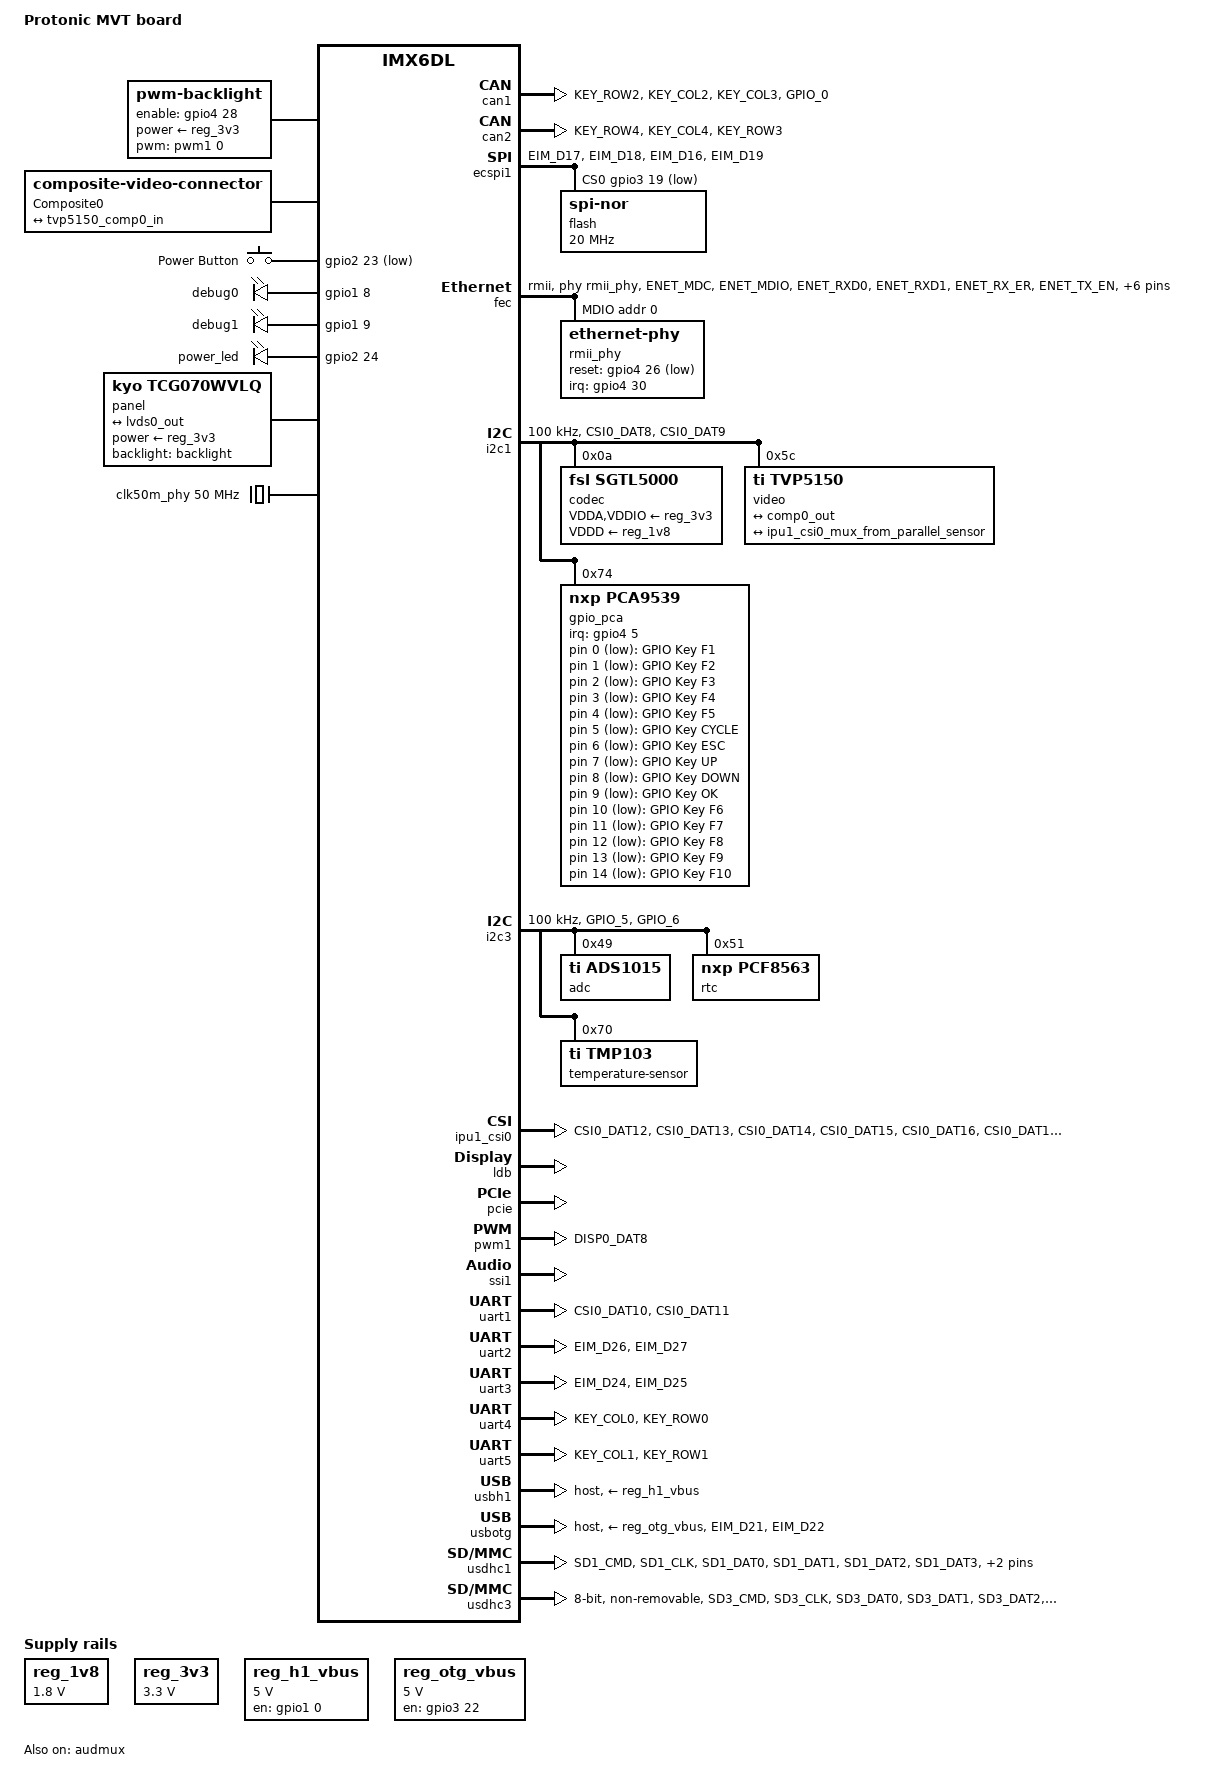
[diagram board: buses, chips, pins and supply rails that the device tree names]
// SPDX-License-Identifier: GPL-2.0-or-later OR MIT
/*
 * Copyright (c) 2016 Protonic Holland
 * Copyright (c) 2020 Oleksij Rempel <kernel@pengutronix.de>, Pengutronix
 */

/dts-v1/;
#include <dt-bindings/display/sdtv-standards.h>
#include <dt-bindings/gpio/gpio.h>
#include <dt-bindings/input/input.h>
#include <dt-bindings/leds/common.h>
#include <dt-bindings/media/tvp5150.h>
#include <dt-bindings/sound/fsl-imx-audmux.h>
#include "imx6dl.dtsi"

/ {
	model = "Protonic MVT board";
	compatible = "prt,prtmvt", "fsl,imx6dl";

	chosen {
		stdout-path = &uart4;
	};

	backlight: backlight {
		compatible = "pwm-backlight";
		pinctrl-names = "default";
		pinctrl-0 = <&pinctrl_backlight>;
		pwms = <&pwm1 0 5000000 0>;
		brightness-levels = <0 16 64 255>;
		num-interpolated-steps = <16>;
		default-brightness-level = <1>;
		power-supply = <&reg_3v3>;
		enable-gpios = <&gpio4 28 GPIO_ACTIVE_HIGH>;
	};

	connector {
		compatible = "composite-video-connector";
		label = "Composite0";
		sdtv-standards = <SDTV_STD_PAL_B>;

		port {
			comp0_out: endpoint {
				remote-endpoint = <&tvp5150_comp0_in>;
			};
		};
	};

	gpio-keys {
		compatible = "gpio-keys";
		pinctrl-names = "default";
		pinctrl-0 = <&pinctrl_gpiokeys>;
		autorepeat;

		key-power {
			label = "Power Button";
			gpios = <&gpio2 23 GPIO_ACTIVE_LOW>;
			linux,code = <KEY_POWER>;
			wakeup-source;
		};

		key-f1 {
			label = "GPIO Key F1";
			linux,code = <KEY_F1>;
			gpios = <&gpio_pca 0 GPIO_ACTIVE_LOW>;
		};

		key-f2 {
			label = "GPIO Key F2";
			linux,code = <KEY_F2>;
			gpios = <&gpio_pca 1 GPIO_ACTIVE_LOW>;
		};

		key-f3 {
			label = "GPIO Key F3";
			linux,code = <KEY_F3>;
			gpios = <&gpio_pca 2 GPIO_ACTIVE_LOW>;
		};

		key-f4 {
			label = "GPIO Key F4";
			linux,code = <KEY_F4>;
			gpios = <&gpio_pca 3 GPIO_ACTIVE_LOW>;
		};

		key-f5 {
			label = "GPIO Key F5";
			linux,code = <KEY_F5>;
			gpios = <&gpio_pca 4 GPIO_ACTIVE_LOW>;
		};

		key-cycle {
			label = "GPIO Key CYCLE";
			linux,code = <KEY_CYCLEWINDOWS>;
			gpios = <&gpio_pca 5 GPIO_ACTIVE_LOW>;
		};

		key-esc {
			label = "GPIO Key ESC";
			linux,code = <KEY_ESC>;
			gpios = <&gpio_pca 6 GPIO_ACTIVE_LOW>;
		};

		key-up {
			label = "GPIO Key UP";
			linux,code = <KEY_UP>;
			gpios = <&gpio_pca 7 GPIO_ACTIVE_LOW>;
		};

		key-down {
			label = "GPIO Key DOWN";
			linux,code = <KEY_DOWN>;
			gpios = <&gpio_pca 8 GPIO_ACTIVE_LOW>;
		};

		key-ok {
			label = "GPIO Key OK";
			linux,code = <KEY_OK>;
			gpios = <&gpio_pca 9 GPIO_ACTIVE_LOW>;
		};

		key-f6 {
			label = "GPIO Key F6";
			linux,code = <KEY_F6>;
			gpios = <&gpio_pca 10 GPIO_ACTIVE_LOW>;
		};

		key-f7 {
			label = "GPIO Key F7";
			linux,code = <KEY_F7>;
			gpios = <&gpio_pca 11 GPIO_ACTIVE_LOW>;
		};

		key-f8 {
			label = "GPIO Key F8";
			linux,code = <KEY_F8>;
			gpios = <&gpio_pca 12 GPIO_ACTIVE_LOW>;
		};

		key-f9 {
			label = "GPIO Key F9";
			linux,code = <KEY_F9>;
			gpios = <&gpio_pca 13 GPIO_ACTIVE_LOW>;
		};

		key-f10 {
			label = "GPIO Key F10";
			linux,code = <KEY_F10>;
			gpios = <&gpio_pca 14 GPIO_ACTIVE_LOW>;
		};

	};

	leds {
		compatible = "gpio-leds";
		pinctrl-names = "default";
		pinctrl-0 = <&pinctrl_leds>;

		led-0 {
			label = "debug0";
			function = LED_FUNCTION_HEARTBEAT;
			gpios = <&gpio1 8 GPIO_ACTIVE_HIGH>;
			linux,default-trigger = "heartbeat";
		};

		led-1 {
			label = "debug1";
			function = LED_FUNCTION_DISK;
			gpios = <&gpio1 9 GPIO_ACTIVE_HIGH>;
			linux,default-trigger = "disk-activity";
		};

		led-2 {
			label = "power_led";
			function = LED_FUNCTION_POWER;
			gpios = <&gpio2 24 GPIO_ACTIVE_HIGH>;
			default-state = "on";
		};
	};

	panel {
		compatible = "kyo,tcg070wvlq", "lg,lb070wv8";
		backlight = <&backlight>;
		power-supply = <&reg_3v3>;

		port {
			panel_in: endpoint {
				remote-endpoint = <&lvds0_out>;
			};
		};
	};

	clk50m_phy: phy-clock {
		compatible = "fixed-clock";
		#clock-cells = <0>;
		clock-frequency = <50000000>;
		clock-output-names = "enet_ref_pad";
	};

	reg_1v8: regulator-1v8 {
		compatible = "regulator-fixed";
		regulator-name = "1v8";
		regulator-min-microvolt = <1800000>;
		regulator-max-microvolt = <1800000>;
	};

	reg_3v3: regulator-3v3 {
		compatible = "regulator-fixed";
		regulator-name = "3v3";
		regulator-min-microvolt = <3300000>;
		regulator-max-microvolt = <3300000>;
	};

	reg_h1_vbus: regulator-h1-vbus {
		compatible = "regulator-fixed";
		regulator-name = "h1-vbus";
		regulator-min-microvolt = <5000000>;
		regulator-max-microvolt = <5000000>;
		gpio = <&gpio1 0 GPIO_ACTIVE_HIGH>;
		enable-active-high;
	};

	reg_otg_vbus: regulator-otg-vbus {
		compatible = "regulator-fixed";
		regulator-name = "otg-vbus";
		regulator-min-microvolt = <5000000>;
		regulator-max-microvolt = <5000000>;
		gpio = <&gpio3 22 GPIO_ACTIVE_HIGH>;
		enable-active-high;
	};

	sound {
		compatible = "simple-audio-card";
		simple-audio-card,name = "prti6q-sgtl5000";
		simple-audio-card,format = "i2s";
		simple-audio-card,widgets =
			"Microphone", "Microphone Jack",
			"Line", "Line In Jack",
			"Headphone", "Headphone Jack",
			"Speaker", "External Speaker";
		simple-audio-card,routing =
			"MIC_IN", "Microphone Jack",
			"LINE_IN", "Line In Jack",
			"Headphone Jack", "HP_OUT",
			"External Speaker", "LINE_OUT";

		simple-audio-card,cpu {
			sound-dai = <&ssi1>;
			system-clock-frequency = <0>;
		};

		simple-audio-card,codec {
			sound-dai = <&codec>;
			bitclock-master;
			frame-master;
		};
	};
};

&audmux {
	pinctrl-names = "default";
	pinctrl-0 = <&pinctrl_audmux>;
	status = "okay";

	mux-ssi1 {
		fsl,audmux-port = <0>;
		fsl,port-config = <
			IMX_AUDMUX_V2_PTCR_SYN		0
			IMX_AUDMUX_V2_PTCR_TFSEL(2)	0
			IMX_AUDMUX_V2_PTCR_TCSEL(2)	0
			IMX_AUDMUX_V2_PTCR_TFSDIR	0
			IMX_AUDMUX_V2_PTCR_TCLKDIR	IMX_AUDMUX_V2_PDCR_RXDSEL(2)
		>;
	};

	mux-pins3 {
		fsl,audmux-port = <2>;
		fsl,port-config = <
			IMX_AUDMUX_V2_PTCR_SYN		IMX_AUDMUX_V2_PDCR_RXDSEL(0)
			0				IMX_AUDMUX_V2_PDCR_TXRXEN
		>;
	};
};

&can1 {
	pinctrl-names = "default";
	pinctrl-0 = <&pinctrl_can1>;
	status = "okay";
};

&can2 {
	pinctrl-names = "default";
	pinctrl-0 = <&pinctrl_can2>;
	status = "okay";
};

&clks {
	clocks = <&clk50m_phy>;
	clock-names = "enet_ref_pad";
	assigned-clocks = <&clks IMX6QDL_CLK_LDB_DI0_SEL>, <&clks IMX6QDL_CLK_ENET_REF_SEL>;
	assigned-clock-parents = <&clks IMX6QDL_CLK_PLL5_VIDEO_DIV>, <&clk50m_phy>;
};

&ecspi1 {
	cs-gpios = <&gpio3 19 GPIO_ACTIVE_LOW>;
	pinctrl-names = "default";
	pinctrl-0 = <&pinctrl_ecspi1>;
	status = "okay";

	flash@0 {
		compatible = "jedec,spi-nor";
		reg = <0>;
		spi-max-frequency = <20000000>;
	};
};

&fec {
	pinctrl-names = "default";
	pinctrl-0 = <&pinctrl_enet>;
	phy-mode = "rmii";
	phy-handle = <&rmii_phy>;
	status = "okay";

	mdio {
		#address-cells = <1>;
		#size-cells = <0>;

		/* Microchip KSZ8081RNA PHY */
		rmii_phy: ethernet-phy@0 {
			reg = <0>;
			interrupts-extended = <&gpio4 30 IRQ_TYPE_LEVEL_LOW>;
			reset-gpios = <&gpio4 26 GPIO_ACTIVE_LOW>;
			reset-assert-us = <10000>;
			reset-deassert-us = <3000>;
		};
	};
};

&gpio1 {
	gpio-line-names =
		"CAN1_TERM", "SD1_CD", "ITU656_RESET", "CAM1_MIRROR",
			"CAM2_MIRROR", "", "", "SMBALERT",
		"DEBUG_0", "DEBUG_1", "", "", "", "", "", "",
		"SD1_DATA0", "SD1_DATA1", "SD1_CMD", "SD1_DATA2", "SD1_CLK",
			"SD1_DATA3", "", "",
		"", "", "", "", "", "", "", "";
};

&gpio2 {
	gpio-line-names =
		"", "", "", "", "", "", "", "",
		"REV_ID0", "REV_ID1", "REV_ID2", "REV_ID3", "REV_ID4",
			"BOARD_ID0", "BOARD_ID1", "BOARD_ID2",
		"", "", "", "", "", "", "", "ON_SWITCH",
		"POWER_LED", "", "", "", "", "", "", "";
};

&gpio3 {
	gpio-line-names =
		"", "", "", "", "", "", "", "",
		"", "", "", "", "", "", "", "",
		"ECSPI1_SCLK", "ECSPI1_MISO", "ECSPI1_MOSI", "ECSPI1_SS1",
			"CPU_ON1_FB", "USB_EXT1_OC", "USB_EXT1_PWR", "YACO_IRQ",
		"TSS_TXD", "TSS_RXD", "", "", "", "", "YACO_BOOT0",
			"YACO_RESET";
};

&gpio4 {
	gpio-line-names =
		"", "", "", "", "", "", "", "",
		"", "", "", "", "CAN1_SR", "CAN2_SR", "CAN2_TX", "CAN2_RX",
		"", "", "DIP1_FB", "", "", "", "", "",
		"CPU_LIGHT_ON", "", "ETH_RESET", "", "BL_EN",
			"BL_PWM", "ETH_INTRP", "";
};

&gpio5 {
	gpio-line-names =
		"", "", "", "", "", "", "", "",
		"", "", "", "", "", "", "", "",
		"", "", "", "", "", "", "", "",
		"I2S_LRCLK", "I2S_DIN", "I2C1_SDA", "I2C1_SCL", "YACO_AUX_RX",
			"YACO_AUX_TX", "ITU656_D0", "ITU656_D1";
};

&i2c1 {
	clock-frequency = <100000>;
	pinctrl-names = "default";
	pinctrl-0 = <&pinctrl_i2c1>;
	status = "okay";

	codec: audio-codec@a {
		compatible = "fsl,sgtl5000";
		reg = <0xa>;
		#sound-dai-cells = <0>;
		clocks = <&clks 201>;
		VDDA-supply = <&reg_3v3>;
		VDDIO-supply = <&reg_3v3>;
		VDDD-supply = <&reg_1v8>;
	};

	video@5c {
		compatible = "ti,tvp5150";
		reg = <0x5c>;
		#address-cells = <1>;
		#size-cells = <0>;

		port@0 {
			reg = <0>;

			tvp5150_comp0_in: endpoint {
				remote-endpoint = <&comp0_out>;
			};
		};

		/* Output port 2 is video output pad */
		port@2 {
			reg = <2>;
			tvp5151_to_ipu1_csi0_mux: endpoint {
				remote-endpoint = <&ipu1_csi0_mux_from_parallel_sensor>;
			};
		};
	};

	gpio_pca: gpio@74 {
		compatible = "nxp,pca9539";
		reg = <0x74>;
		pinctrl-names = "default";
		pinctrl-0 = <&pinctrl_pca9539>;
		interrupt-parent = <&gpio4>;
		interrupts = <5 IRQ_TYPE_LEVEL_LOW>;
		gpio-controller;
		#gpio-cells = <2>;
	};

	/* additional i2c devices are added automatically by the boot loader */
};

&i2c3 {
	clock-frequency = <100000>;
	pinctrl-names = "default";
	pinctrl-0 = <&pinctrl_i2c3>;
	status = "okay";

	adc@49 {
		compatible = "ti,ads1015";
		reg = <0x49>;
		#address-cells = <1>;
		#size-cells = <0>;

		channel@4 {
			reg = <4>;
			ti,gain = <3>;
			ti,datarate = <3>;
		};

		channel@5 {
			reg = <5>;
			ti,gain = <3>;
			ti,datarate = <3>;
		};

		channel@6 {
			reg = <6>;
			ti,gain = <3>;
			ti,datarate = <3>;
		};

		channel@7 {
			reg = <7>;
			ti,gain = <3>;
			ti,datarate = <3>;
		};
	};

	rtc@51 {
		compatible = "nxp,pcf8563";
		reg = <0x51>;
	};

	temperature-sensor@70 {
		compatible = "ti,tmp103";
		reg = <0x70>;
	};
};

&ipu1_csi0 {
	pinctrl-names = "default";
	pinctrl-0 = <&pinctrl_ipu1_csi0>;
	status = "okay";
};

&ipu1_csi0_mux_from_parallel_sensor {
	remote-endpoint = <&tvp5151_to_ipu1_csi0_mux>;
};

&ldb {
	status = "okay";

	lvds-channel@0 {
		status = "okay";

		port@4 {
			reg = <4>;

			lvds0_out: endpoint {
				remote-endpoint = <&panel_in>;
			};
		};
	};
};

&pcie {
	status = "okay";
};

&pwm1 {
	pinctrl-names = "default";
	pinctrl-0 = <&pinctrl_pwm1>;
	status = "okay";
};

&ssi1 {
	#sound-dai-cells = <0>;
	fsl,mode = "ac97-slave";
	status = "okay";
};

&uart1 {
	pinctrl-names = "default";
	pinctrl-0 = <&pinctrl_uart1>;
	status = "okay";
};

&uart2 {
	pinctrl-names = "default";
	pinctrl-0 = <&pinctrl_uart2>;
	status = "okay";
};

&uart3 {
	pinctrl-names = "default";
	pinctrl-0 = <&pinctrl_uart3>;
	status = "okay";
};

&uart4 {
	pinctrl-names = "default";
	pinctrl-0 = <&pinctrl_uart4>;
	status = "okay";
};

&uart5 {
	pinctrl-names = "default";
	pinctrl-0 = <&pinctrl_uart5>;
	status = "okay";
};

&usbh1 {
	vbus-supply = <&reg_h1_vbus>;
	pinctrl-names = "default";
	phy_type = "utmi";
	dr_mode = "host";
	disable-over-current;
	status = "okay";
};

&usbotg {
	vbus-supply = <&reg_otg_vbus>;
	pinctrl-names = "default";
	pinctrl-0 = <&pinctrl_usbotg>;
	phy_type = "utmi";
	dr_mode = "host";
	over-current-active-low;
	status = "okay";
};

&usbphynop1 {
	status = "disabled";
};

&usbphynop2 {
	status = "disabled";
};

&usdhc1 {
	pinctrl-names = "default";
	pinctrl-0 = <&pinctrl_usdhc1>;
	cd-gpios = <&gpio1 1 GPIO_ACTIVE_LOW>;
	no-1-8-v;
	disable-wp;
	cap-sd-highspeed;
	no-mmc;
	no-sdio;
	status = "okay";
};

&usdhc3 {
	pinctrl-names = "default";
	pinctrl-0 = <&pinctrl_usdhc3>;
	bus-width = <8>;
	no-1-8-v;
	non-removable;
	no-sd;
	no-sdio;
	status = "okay";
};

&iomuxc {
	pinctrl-names = "default";
	pinctrl-0 = <&pinctrl_hog>;

	pinctrl_audmux: audmuxgrp {
		fsl,pins = <
			/* SGTL5000 sys_mclk */
			MX6QDL_PAD_CSI0_MCLK__CCM_CLKO1			0x030b0
			MX6QDL_PAD_CSI0_DAT7__AUD3_RXD			0x130b0
			MX6QDL_PAD_CSI0_DAT4__AUD3_TXC			0x130b0
			MX6QDL_PAD_CSI0_DAT5__AUD3_TXD			0x110b0
			MX6QDL_PAD_CSI0_DAT6__AUD3_TXFS			0x130b0
		>;
	};

	pinctrl_backlight: backlightgrp {
		fsl,pins = <
			MX6QDL_PAD_DISP0_DAT7__GPIO4_IO28		0x1b0b0
		>;
	};

	pinctrl_can1: can1grp {
		fsl,pins = <
			MX6QDL_PAD_KEY_ROW2__FLEXCAN1_RX		0x1b000
			MX6QDL_PAD_KEY_COL2__FLEXCAN1_TX		0x3008
			/* CAN1_SR */
			MX6QDL_PAD_KEY_COL3__GPIO4_IO12			0x13008
			/* CAN1_TERM */
			MX6QDL_PAD_GPIO_0__GPIO1_IO00			0x1b088
		>;
	};

	pinctrl_can2: can2grp {
		fsl,pins = <
			MX6QDL_PAD_KEY_ROW4__FLEXCAN2_RX		0x1b000
			MX6QDL_PAD_KEY_COL4__FLEXCAN2_TX		0x3008
			/* CAN2_SR */
			MX6QDL_PAD_KEY_ROW3__GPIO4_IO13			0x13008
		>;
	};

	pinctrl_ecspi1: ecspi1grp {
		fsl,pins = <
			MX6QDL_PAD_EIM_D17__ECSPI1_MISO			0x100b1
			MX6QDL_PAD_EIM_D18__ECSPI1_MOSI			0x100b1
			MX6QDL_PAD_EIM_D16__ECSPI1_SCLK			0x100b1
			/* CS */
			MX6QDL_PAD_EIM_D19__GPIO3_IO19			0x000b1
		>;
	};

	pinctrl_enet: enetgrp {
		fsl,pins = <
			/* MX6QDL_ENET_PINGRP4 */
			MX6QDL_PAD_ENET_MDC__ENET_MDC			0x1b0b0
			MX6QDL_PAD_ENET_MDIO__ENET_MDIO			0x1b0b0
			MX6QDL_PAD_ENET_RXD0__ENET_RX_DATA0		0x1b0b0
			MX6QDL_PAD_ENET_RXD1__ENET_RX_DATA1		0x1b0b0
			MX6QDL_PAD_ENET_RX_ER__ENET_RX_ER		0x1b0b0
			MX6QDL_PAD_ENET_TX_EN__ENET_TX_EN		0x1b0b0
			MX6QDL_PAD_ENET_TXD0__ENET_TX_DATA0		0x1b0b0
			MX6QDL_PAD_ENET_TXD1__ENET_TX_DATA1		0x1b0b0
			MX6QDL_PAD_ENET_CRS_DV__ENET_RX_EN		0x1b0b0
			MX6QDL_PAD_GPIO_16__ENET_REF_CLK		0x1b0b0
			/* Phy reset */
			MX6QDL_PAD_DISP0_DAT5__GPIO4_IO26		0x1b0b0
			/* nINTRP */
			MX6QDL_PAD_DISP0_DAT9__GPIO4_IO30		0x1b0b0
		>;
	};

	pinctrl_gpiokeys: gpiokeygrp {
		fsl,pins = <
			/* nON_SWITCH */
			MX6QDL_PAD_EIM_CS0__GPIO2_IO23			0x1b0b0
		>;
	};

	pinctrl_hog: hoggrp {
		fsl,pins = <
			/* ITU656_nRESET */
			MX6QDL_PAD_GPIO_2__GPIO1_IO02			0x1b0b0
			/* CAM1_MIRROR */
			MX6QDL_PAD_GPIO_3__GPIO1_IO03			0x130b0
			/* CAM2_MIRROR */
			MX6QDL_PAD_GPIO_4__GPIO1_IO04			0x130b0
			/* CAM_nDETECT */
			MX6QDL_PAD_GPIO_17__GPIO7_IO12			0x1b0b0
			/* ISB_IN1 */
			MX6QDL_PAD_EIM_A16__GPIO2_IO22			0x130b0
			/* ISB_nIN2 */
			MX6QDL_PAD_EIM_A17__GPIO2_IO21			0x1b0b0
			/* WARN_LIGHT */
			MX6QDL_PAD_EIM_A19__GPIO2_IO19			0x100b0
			/* ON2_FB */
			MX6QDL_PAD_EIM_A25__GPIO5_IO02			0x100b0
			/* YACO_nIRQ */
			MX6QDL_PAD_EIM_D23__GPIO3_IO23			0x1b0b0
			/* YACO_BOOT0 */
			MX6QDL_PAD_EIM_D30__GPIO3_IO30			0x130b0
			/* YACO_nRESET */
			MX6QDL_PAD_EIM_D31__GPIO3_IO31			0x1b0b0
			/* FORCE_ON1 */
			MX6QDL_PAD_EIM_EB2__GPIO2_IO30			0x1b0b0
			/* AUDIO_nRESET */
			MX6QDL_PAD_CSI0_VSYNC__GPIO5_IO21		0x1f0b0
			/* ITU656_nPDN */
			MX6QDL_PAD_CSI0_DATA_EN__GPIO5_IO20		0x1b0b0

			/* HW revision detect */
			/* REV_ID0 */
			MX6QDL_PAD_SD4_DAT0__GPIO2_IO08			0x1b0b0
			/* REV_ID1 */
			MX6QDL_PAD_SD4_DAT1__GPIO2_IO09			0x1b0b0
			/* REV_ID2 */
			MX6QDL_PAD_SD4_DAT2__GPIO2_IO10			0x1b0b0
			/* REV_ID3 */
			MX6QDL_PAD_SD4_DAT3__GPIO2_IO11			0x1b0b0
			/* REV_ID4 */
			MX6QDL_PAD_SD4_DAT4__GPIO2_IO12			0x1b0b0

			/* New in HW revision 1 */
			/* ON1_FB */
			MX6QDL_PAD_EIM_D20__GPIO3_IO20			0x100b0
			/* DIP1_FB */
			MX6QDL_PAD_DI0_PIN2__GPIO4_IO18			0x1b0b0
		>;
	};

	pinctrl_i2c1: i2c1grp {
		fsl,pins = <
			MX6QDL_PAD_CSI0_DAT8__I2C1_SDA		0x4001f8b1
			MX6QDL_PAD_CSI0_DAT9__I2C1_SCL		0x4001f8b1
		>;
	};

	pinctrl_i2c3: i2c3grp {
		fsl,pins = <
			MX6QDL_PAD_GPIO_5__I2C3_SCL		0x4001b8b1
			MX6QDL_PAD_GPIO_6__I2C3_SDA		0x4001b8b1
		>;
	};

	pinctrl_ipu1_csi0: ipu1csi0grp {
		fsl,pins = <
			MX6QDL_PAD_CSI0_DAT12__IPU1_CSI0_DATA12		0x1b0b0
			MX6QDL_PAD_CSI0_DAT13__IPU1_CSI0_DATA13		0x1b0b0
			MX6QDL_PAD_CSI0_DAT14__IPU1_CSI0_DATA14		0x1b0b0
			MX6QDL_PAD_CSI0_DAT15__IPU1_CSI0_DATA15		0x1b0b0
			MX6QDL_PAD_CSI0_DAT16__IPU1_CSI0_DATA16		0x1b0b0
			MX6QDL_PAD_CSI0_DAT17__IPU1_CSI0_DATA17		0x1b0b0
			MX6QDL_PAD_CSI0_DAT18__IPU1_CSI0_DATA18		0x1b0b0
			MX6QDL_PAD_CSI0_DAT19__IPU1_CSI0_DATA19		0x1b0b0
			MX6QDL_PAD_CSI0_PIXCLK__IPU1_CSI0_PIXCLK	0x1b0b0
		>;
	};

	pinctrl_leds: ledsgrp {
		fsl,pins = <
			/* DEBUG0 */
			MX6QDL_PAD_DI0_DISP_CLK__GPIO4_IO16		0x1b0b0
			/* DEBUG1 */
			MX6QDL_PAD_DI0_PIN15__GPIO4_IO17		0x1b0b0
			/* POWER_LED */
			MX6QDL_PAD_EIM_CS1__GPIO2_IO24			0x1b0b0
		>;
	};

	pinctrl_pca9539: pca9539 {
		fsl,pins = <
			MX6QDL_PAD_GPIO_19__GPIO4_IO05			0x1b0b0
		>;
	};

	pinctrl_pwm1: pwm1grp {
		fsl,pins = <
			MX6QDL_PAD_DISP0_DAT8__PWM1_OUT			0x1b0b0
		>;
	};

	/* YaCO AUX Uart */
	pinctrl_uart1: uart1grp {
		fsl,pins = <
			MX6QDL_PAD_CSI0_DAT10__UART1_TX_DATA		0x1b0b1
			MX6QDL_PAD_CSI0_DAT11__UART1_RX_DATA		0x1b0b1
		>;
	};

	pinctrl_uart2: uart2grp {
		fsl,pins = <
			MX6QDL_PAD_EIM_D26__UART2_TX_DATA		0x1b0b1
			MX6QDL_PAD_EIM_D27__UART2_RX_DATA		0x1b0b1
		>;
	};

	/* YaCO Touchscreen UART */
	pinctrl_uart3: uart3grp {
		fsl,pins = <
			MX6QDL_PAD_EIM_D24__UART3_TX_DATA		0x1b0b1
			MX6QDL_PAD_EIM_D25__UART3_RX_DATA		0x1b0b1
		>;
	};

	pinctrl_uart4: uart4grp {
		fsl,pins = <
			MX6QDL_PAD_KEY_COL0__UART4_TX_DATA		0x1b0b1
			MX6QDL_PAD_KEY_ROW0__UART4_RX_DATA		0x1b0b1
		>;
	};

	pinctrl_uart5: uart5grp {
		fsl,pins = <
			MX6QDL_PAD_KEY_COL1__UART5_TX_DATA		0x1b0b1
			MX6QDL_PAD_KEY_ROW1__UART5_RX_DATA		0x1b0b1
		>;
	};

	pinctrl_usbotg: usbotggrp {
		fsl,pins = <
			MX6QDL_PAD_EIM_D21__USB_OTG_OC			0x1b0b0
			/* power enable, high active */
			MX6QDL_PAD_EIM_D22__GPIO3_IO22			0x1b0b0
		>;
	};

	pinctrl_usdhc1: usdhc1grp {
		fsl,pins = <
			MX6QDL_PAD_SD1_CMD__SD1_CMD			0x170f9
			MX6QDL_PAD_SD1_CLK__SD1_CLK			0x100f9
			MX6QDL_PAD_SD1_DAT0__SD1_DATA0			0x170f9
			MX6QDL_PAD_SD1_DAT1__SD1_DATA1			0x170f9
			MX6QDL_PAD_SD1_DAT2__SD1_DATA2			0x170f9
			MX6QDL_PAD_SD1_DAT3__SD1_DATA3			0x170f9
			MX6QDL_PAD_GPIO_1__GPIO1_IO01			0x1b0b0
		>;
	};

	pinctrl_usdhc3: usdhc3grp {
		fsl,pins = <
			MX6QDL_PAD_SD3_CMD__SD3_CMD			0x17099
			MX6QDL_PAD_SD3_CLK__SD3_CLK			0x10099
			MX6QDL_PAD_SD3_DAT0__SD3_DATA0			0x17099
			MX6QDL_PAD_SD3_DAT1__SD3_DATA1			0x17099
			MX6QDL_PAD_SD3_DAT2__SD3_DATA2			0x17099
			MX6QDL_PAD_SD3_DAT3__SD3_DATA3			0x17099
			MX6QDL_PAD_SD3_DAT4__SD3_DATA4			0x17099
			MX6QDL_PAD_SD3_DAT5__SD3_DATA5			0x17099
			MX6QDL_PAD_SD3_DAT6__SD3_DATA6			0x17099
			MX6QDL_PAD_SD3_DAT7__SD3_DATA7			0x17099
			MX6QDL_PAD_SD3_RST__SD3_RESET			0x1b0b1
		>;
	};
};
